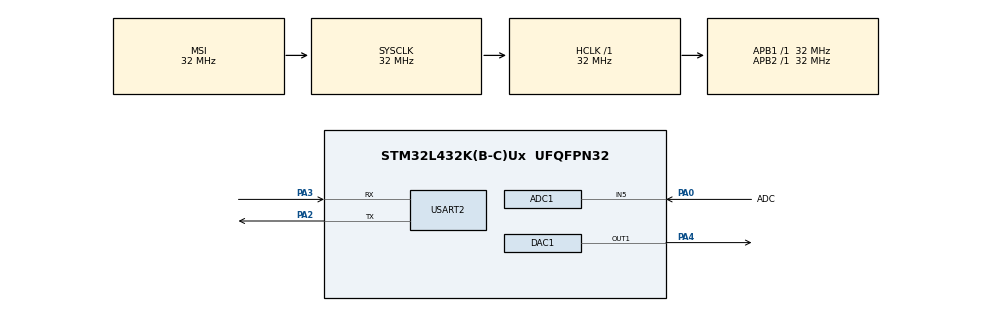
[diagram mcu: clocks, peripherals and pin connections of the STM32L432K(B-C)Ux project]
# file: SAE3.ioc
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ADC1.Channel-0\#ChannelRegularConversion=ADC_CHANNEL_5
ADC1.ClockPrescaler=ADC_CLOCK_ASYNC_DIV4
ADC1.ContinuousConvMode=ENABLE
ADC1.DMAContinuousRequests=ENABLE
ADC1.DMAContinuousRequestsForConfigFile-ADC_Settings=LIMITED
ADC1.ExternalTrigConv=ADC_SOFTWARE_START
ADC1.NbrOfConversion=1
ADC1.NbrOfConversionFlag=1
ADC1.OffsetNumber-0\#ChannelRegularConversion=ADC_OFFSET_NONE
ADC1.Rank-0\#ChannelRegularConversion=1
ADC1.Resolution=ADC_RESOLUTION_12B
ADC1.SamplingTime-0\#ChannelRegularConversion=ADC_SAMPLETIME_247CYCLES_5
ADC1.master=1
DAC1.DAC_Trigger-DAC_OUT1=DAC_TRIGGER_T6_TRGO
Dma.ADC1.0.Direction=DMA_PERIPH_TO_MEMORY
Dma.ADC1.0.Instance=DMA1_Channel1
Dma.ADC1.0.MemDataAlignment=DMA_MDATAALIGN_HALFWORD
Dma.ADC1.0.MemInc=DMA_MINC_ENABLE
Dma.ADC1.0.Mode=DMA_CIRCULAR
Dma.ADC1.0.PeriphDataAlignment=DMA_PDATAALIGN_HALFWORD
Dma.ADC1.0.PeriphInc=DMA_PINC_DISABLE
Dma.ADC1.0.Priority=DMA_PRIORITY_LOW
Dma.DAC_CH1.1.Direction=DMA_MEMORY_TO_PERIPH
Dma.DAC_CH1.1.Instance=DMA1_Channel3
Dma.DAC_CH1.1.MemDataAlignment=DMA_MDATAALIGN_HALFWORD
Dma.DAC_CH1.1.MemInc=DMA_MINC_ENABLE
Dma.DAC_CH1.1.Mode=DMA_CIRCULAR
Dma.DAC_CH1.1.PeriphDataAlignment=DMA_PDATAALIGN_HALFWORD
Dma.DAC_CH1.1.PeriphInc=DMA_PINC_DISABLE
Dma.DAC_CH1.1.Priority=DMA_PRIORITY_LOW
Dma.Request0=ADC1
Dma.Request1=DAC_CH1
Mcu.Family=STM32L4
Mcu.Name=STM32L432K(B-C)Ux
Mcu.Package=UFQFPN32
NVIC.DMA1_Channel1_IRQn=true\:0\:0\:false\:false\:true\:false\:true\:true
NVIC.DMA1_Channel3_IRQn=true\:0\:0\:false\:false\:true\:false\:true\:true
NVIC.PriorityGroup=NVIC_PRIORITYGROUP_4
PA0.GPIO_Label=ADC
PA0.Signal=ADCx_IN5
PA2.Mode=Asynchronous
PA2.Signal=USART2_TX
PA3.Mode=Asynchronous
PA3.Signal=USART2_RX
PA4.Signal=COMP_DAC11_group
PB6.Signal=I2C1_SCL
PB7.Signal=I2C1_SDA
ProjectManager.HeapSize=0x200
ProjectManager.StackSize=0x400
ProjectManager.TargetToolchain=STM32CubeIDE
RCC.ADCFreq_Value=32000000
RCC.AHBFreq_Value=32000000
RCC.APB1Freq_Value=32000000
RCC.APB1TimFreq_Value=32000000
RCC.APB2Freq_Value=32000000
RCC.APB2TimFreq_Value=32000000
RCC.CortexFreq_Value=32000000
RCC.FLatency-AdvancedSettings=FLASH_LATENCY_1
RCC.HCLKFreq_Value=32000000
RCC.HSE_VALUE=8000000
RCC.HSI48_VALUE=48000000
RCC.HSI_VALUE=16000000
RCC.LSE_VALUE=32768
RCC.MSIClockRange=RCC_MSIRANGE_10
RCC.MSI_VALUE=32000000
RCC.PLLM=2
RCC.PLLSAI1R=RCC_PLLR_DIV4
RCC.SYSCLKFreq_VALUE=32000000
RCC.USBFreq_Value=64000000
RCC.VCOOutputFreq_Value=128000000
SH.ADCx_IN5.0=ADC1_IN5,IN5-Single-Ended
SH.COMP_DAC11_group.0=DAC1_OUT1,DAC_OUT1
TIM6.Period=1039
TIM6.Prescaler=0
TIM6.TIM_MasterOutputTrigger=TIM_TRGO_UPDATE
USART2.VirtualMode-Asynchronous=VM_ASYNC
VP_TIM6_VS_ClockSourceINT.Mode=Enable_Timer
board=custom

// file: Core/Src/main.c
/* USER CODE BEGIN Header */
/**
  ******************************************************************************
  * @file           : main.c
  * @brief          : Main program body
  ******************************************************************************
  * @attention
  *
  * Copyright (c) 2025 STMicroelectronics.
  * All rights reserved.
  *
  * This software is licensed under terms that can be found in the LICENSE file
  * in the root directory of this software component.
  * If no LICENSE file comes with this software, it is provided AS-IS.
  *
  ******************************************************************************
  */
/* USER CODE END Header */
#include "main.h"
#include "adc.h"
#include "dac.h"
#include "dma.h"
#include "tim.h"
#include "usart.h"
#include "gpio.h"

/* USER CODE BEGIN Includes */
#include <string.h>
#include <stdio.h>
/* USER CODE END Includes */

/* USER CODE BEGIN PD */
#define adc_buf_len 11000

/* USER CODE END PD */

/* USER CODE BEGIN PV */
uint16_t adc_buf[adc_buf_len];
uint16_t dac_buf[adc_buf_len];

/* USER CODE END PV */

void SystemClock_Config(void);

int main(void)
{

  /* MCU Configuration--------------------------------------------------------*/

  /* Reset of all peripherals, Initializes the Flash interface and the Systick. */
  HAL_Init();

  /* Configure the system clock */
  SystemClock_Config();

  /* Initialize all configured peripherals */
  MX_GPIO_Init();
  MX_DMA_Init();
  MX_ADC1_Init();
  MX_USART2_UART_Init();
  MX_DAC1_Init();
  MX_TIM6_Init();
  /* USER CODE BEGIN 2 */
  /* USER CODE BEGIN 2 */

  HAL_TIM_Base_Start(&htim6);
  HAL_ADC_Start_DMA(&hadc1, (uint32_t*)adc_buf, adc_buf_len);
  HAL_DAC_Start_DMA(&hdac1, DAC_CHANNEL_1, (uint32_t*)dac_buf, adc_buf_len, DAC_ALIGN_12B_R);

  /* USER CODE END 2 */

  /* Infinite loop */
  while (1)
  {

  }
}

void SystemClock_Config(void)
{
  RCC_OscInitTypeDef RCC_OscInitStruct = {0};
  RCC_ClkInitTypeDef RCC_ClkInitStruct = {0};

  /** Configure the main internal regulator output voltage
  */
  if (HAL_PWREx_ControlVoltageScaling(PWR_REGULATOR_VOLTAGE_SCALE1) != HAL_OK)
  {
    Error_Handler();
  }

  /** Initializes the RCC Oscillators according to the specified parameters
  * in the RCC_OscInitTypeDef structure.
  */
  RCC_OscInitStruct.OscillatorType = RCC_OSCILLATORTYPE_MSI;
  RCC_OscInitStruct.MSIState = RCC_MSI_ON;
  RCC_OscInitStruct.MSICalibrationValue = 0;
  RCC_OscInitStruct.MSIClockRange = RCC_MSIRANGE_10;
  RCC_OscInitStruct.PLL.PLLState = RCC_PLL_NONE;
  if (HAL_RCC_OscConfig(&RCC_OscInitStruct) != HAL_OK)
  {
    Error_Handler();
  }

  /** Initializes the CPU, AHB and APB buses clocks
  */
  RCC_ClkInitStruct.ClockType = RCC_CLOCKTYPE_HCLK|RCC_CLOCKTYPE_SYSCLK
                              |RCC_CLOCKTYPE_PCLK1|RCC_CLOCKTYPE_PCLK2;
  RCC_ClkInitStruct.SYSCLKSource = RCC_SYSCLKSOURCE_MSI;
  RCC_ClkInitStruct.AHBCLKDivider = RCC_SYSCLK_DIV1;
  RCC_ClkInitStruct.APB1CLKDivider = RCC_HCLK_DIV1;
  RCC_ClkInitStruct.APB2CLKDivider = RCC_HCLK_DIV1;

  if (HAL_RCC_ClockConfig(&RCC_ClkInitStruct, FLASH_LATENCY_1) != HAL_OK)
  {
    Error_Handler();
  }
}

/* USER CODE BEGIN 4 */
void HAL_ADC_ConvHalfCpltCallback(ADC_HandleTypeDef* hadc)
{
	compression(&adc_buf[0],&dac_buf[0],adc_buf_len/2);

}

void HAL_ADC_ConvCpltCallback(ADC_HandleTypeDef* hadc)
 {
	compression(&adc_buf[adc_buf_len/2],&dac_buf[adc_buf_len/2],adc_buf_len/2);
 }

void compression(uint16_t*input, uint16_t*output, uint32_t len)
{
	uint16_t Vamp = 0;

	for(uint32_t i =0;i<len; i++)
	{
		uint16_t current_amp;
		current_amp = input[i];
		if(Vamp  < current_amp)
		{
			Vamp=current_amp;
		}
	}

	float A;
	const float Vth = (1.0/3.3)*4096;
	const float dV = (2.0/3.3)*4096;
	const float Vmax = Vth+dV;
	//uint32_t retard = 500;

	if(Vamp < Vth)
	{
		A = 1;
	}
	else if (Vamp >= Vth && Vamp < Vmax)
	{
		const float a = -1/(2*dV);
		const float b = 1 + (Vth/dV);
		const float c = ( -(Vth*Vth)/(2*dV));
		A = a*Vamp +b + (c/Vamp) ;
	}
	else if(Vmax <= Vamp)
	{
		A = (2*Vth + dV)/(2*Vamp);
	}

	for(uint32_t i =0;i<len; i++)
	{
		float current_amp = input[i]  ;
		float new_amp = current_amp *A ;
		//uint32_t j = i-(retard/32);
		output[i]= new_amp;

	}

}

/* USER CODE END 4 */

void Error_Handler(void)
{
  __disable_irq();
  while (1)
  {
  }
}
